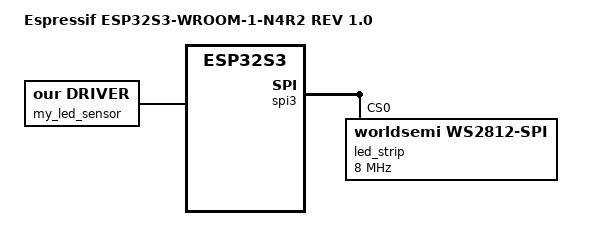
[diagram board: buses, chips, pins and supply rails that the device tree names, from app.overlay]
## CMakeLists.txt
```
cmake_minimum_required(VERSION 3.20.0)

find_package(Zephyr REQUIRED)

# Pull in the custom Kconfig (adds CONFIG_SENSOR_OUR_DRIVER)
set(KCONFIG_ROOT ${CMAKE_CURRENT_SOURCE_DIR}/Kconfig)

project(app-blink-s3-wroom-1-n8r2-devkitc-rev1.0)

target_sources(app PRIVATE src/main.cpp)

# Add driver source directly into Zephyr-OS drivers
zephyr_library_sources_ifdef(CONFIG_SENSOR_OUR_DRIVER src/our_driver.c)
```

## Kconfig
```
config SENSOR_OUR_DRIVER
    bool "Our LED sensor driver"
    depends on SENSOR
    depends on LED_STRIP
    help
      Enable the on-board LED sensor driver.

source "Kconfig.zephyr"
```

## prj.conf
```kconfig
# Needed to control the internal RGB LED of the Espressif ESP32s3-WROOM-1-N8R2 on GPIO38
CONFIG_SENSOR=y
CONFIG_LED_STRIP=y
CONFIG_SPI=y
CONFIG_SENSOR_OUR_DRIVER=y

# Enable serial driver and console
CONFIG_SERIAL=y
CONFIG_CONSOLE=y

# Route console output to UART
CONFIG_UART_CONSOLE=y

# (Optional but recommended) Explicitly enable printk
CONFIG_PRINTK=y
```

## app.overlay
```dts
#include <zephyr/dt-bindings/gpio/gpio.h>
#include <zephyr/dt-bindings/led/led.h>
#include <zephyr/dt-bindings/pinctrl/esp32s3-pinctrl.h>

/*** NOTES FOR FUTURE ME

at the time of this assignment I didn't have a led and resistor laying
around to create a simple blinking led, so I used the RGB led of the esp32s3
defioned at the overlay file from my previous assignment and wrapped it inside
the sample_fetch / channel_get callbacks of this our driver
*/

/ {
    model = "Espressif ESP32S3-WROOM-1-N4R2 REV 1.0";
    compatible = "espressif,esp32s3";

    aliases {
        led-strip     = &led_strip;
        my-led-sensor = &my_led_sensor;
    };

    my_led_sensor: my_led_sensor {
        compatible = "our,driver";
        led-strip = <&led_strip>;
        custom-api = "our_driver_api";
    };
};

&pinctrl {
    spim3_ws2812: spim3_ws2812 {
        group1 {
            /* GPIO48 on board rev v1.0, GPIO38 on v1.1 */
            pinmux = <ESP32_PINMUX(48, ESP_NOSIG, ESP_SPI3_D_OUT)>;
            output-low;
        };
    };
};

&spi3 {
    status = "okay";
    pinctrl-0 = <&spim3_ws2812>;
    pinctrl-names = "default";
    line-idle-low;

    led_strip: ws2812@0 {
        compatible = "worldsemi,ws2812-spi";
        reg = <0>;
        chain-length = <1>;
        color-mapping = <LED_COLOR_ID_GREEN LED_COLOR_ID_RED LED_COLOR_ID_BLUE>;
        spi-max-frequency = <8000000>;
        spi-one-frame     = <0xF8>;
        spi-zero-frame    = <0xC0>;
    };
};
```

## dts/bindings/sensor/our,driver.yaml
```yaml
description: WS2812 LED strip sensor wrapper
compatible: "our,driver"
include: base.yaml

properties:
  led-strip:
    type: phandle
    required: true
    description: LED strip device to control

  custom-api:
    type: string
    required: true
    description: Name of the custom API struct
```

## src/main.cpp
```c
#include <zephyr/kernel.h>
#include <zephyr/device.h>
#include <zephyr/drivers/sensor.h>

/* Use extern "C" because main.cpp is C++ */
extern "C" {
    typedef int (*our_driver_set_state_t)(const struct device *dev, bool state);
    struct our_driver_api {
        our_driver_set_state_t set_state;
    };
    const struct our_driver_api *our_driver_custom_api_get_0(void);
}

int main(void)
{
    printk(">>> [APP] main() started\n");
    
    const struct device *dev = DEVICE_DT_GET(DT_ALIAS(my_led_sensor));
    if (!device_is_ready(dev)) {
        printk(">>> [APP] ERROR: my_led_sensor not ready\n");
        return -1;
    }

    printk(">>> [APP] device is ready\n");

    const struct our_driver_api *custom_api = our_driver_custom_api_get_0();
    if (!custom_api) {
        printk(">>> [APP] ERROR: custom API is null\n");
        return -1;
    }
    
    printk(">>> [APP] custom API pointer: %p\n", custom_api);
    printk(">>> [APP] set_state pointer: %p\n", custom_api->set_state);

    while (1) {
        sensor_sample_fetch(dev);                         
        
        printk(">>> [APP] calling custom API for TRUE\n");
        custom_api->set_state(dev, true); 
        
        k_msleep(1000);

        struct sensor_value val;
        sensor_channel_get(dev, SENSOR_CHAN_ALL, &val);   
        
        printk(">>> [APP] calling custom API for FALSE\n");
        custom_api->set_state(dev, false);
        
        k_msleep(1000);
    }
    return 0;
}
```

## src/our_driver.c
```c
/*
Without it, every DT_INST_* macro uses an empty compat string, matches no nodes,
and DT_INST_FOREACH_STATUS_OKAY produces no instances
*/
#define DT_DRV_COMPAT our_driver

#include <zephyr/device.h>
#include <zephyr/drivers/led_strip.h>
#include <zephyr/drivers/sensor.h>
#include <zephyr/kernel.h>
#include <zephyr/sys/printk.h>

/* --- 1. STRUCTS --- */

/* Static configuration (from Devicetree) */
struct our_driver_config {
  const struct device *strip;
};

/* Dynamic data (for Task 2 state tracking) */
struct our_driver_data {
  bool state;
};

/* --- 2. CUSTOM API --- */

/* Define the custom API structure */
typedef int (*our_driver_set_state_t)(const struct device *dev, bool state);
struct our_driver_api {
  our_driver_set_state_t set_state;
};

/* Implement the custom function */
static int our_driver_set_state(const struct device *dev, bool state) {
  struct our_driver_data *data = dev->data;
  data->state = state;

  printk("our driver: RGB led %s\n", state ? "true" : "false");
  return 0;
}

/* --- 3. SENSOR API --- */

static int our_driver_sample_fetch(const struct device *dev,
                                   enum sensor_channel chan) {
  const struct our_driver_config *cfg = dev->config;
  struct our_driver_data *data = dev->data;
  struct led_rgb pixel = {.r = 0, .g = 255, .b = 0}; /* Green */

  if (chan != SENSOR_CHAN_ALL)
    return -ENOTSUP;

  data->state = true;
  return led_strip_update_rgb(cfg->strip, &pixel, 1);
}

static int our_driver_channel_get(const struct device *dev,
                                  enum sensor_channel chan,
                                  struct sensor_value *val) {
  const struct our_driver_config *cfg = dev->config;
  struct our_driver_data *data = dev->data;
  struct led_rgb pixel = {.r = 0, .g = 0, .b = 0}; /* Off */

  if (chan != SENSOR_CHAN_ALL)
    return -ENOTSUP;

  data->state = false;
  (void)led_strip_update_rgb(cfg->strip, &pixel, 1);
  val->val1 = 0;
  val->val2 = 0;
  return 0;
}

static const struct sensor_driver_api our_sensor_api = {
    .sample_fetch = our_driver_sample_fetch,
    .channel_get = our_driver_channel_get,
};

/* --- 4. INIT AND DEVICE DEFINE --- */

static int our_driver_init(const struct device *dev) {
  printk(">>> [DRIVER] init() started\n"); 

  const struct our_driver_config *cfg = dev->config;
  struct our_driver_data *data = dev->data;

  if (!device_is_ready(cfg->strip)) {
    printk(">>> [DRIVER] ERROR: LED strip not ready\n");
    return -ENODEV;
  }

  printk(">>> [DRIVER] init() complete\n");
  data->state = false;
  return 0;
}

#define OUR_DRIVER_INIT(inst)                                                  \
  static const struct our_driver_config our_driver_config_##inst = {           \
      .strip = DEVICE_DT_GET(DT_INST_PHANDLE(inst, led_strip)),                \
  };                                                                           \
  static struct our_driver_data our_driver_data_##inst;                        \
  static const struct our_driver_api our_driver_custom_api_##inst = {          \
      .set_state = our_driver_set_state,                                       \
  };                                                                           \
  DEVICE_DT_INST_DEFINE(inst, our_driver_init, NULL, &our_driver_data_##inst,  \
                        &our_driver_config_##inst, POST_KERNEL,                \
                        CONFIG_SENSOR_INIT_PRIORITY, &our_sensor_api);         \
  /* Expose the custom API so main.c can find it */                            \
  const struct our_driver_api *our_driver_custom_api_get_##inst(void) {        \
    return &our_driver_custom_api_##inst;                                      \
  }

DT_INST_FOREACH_STATUS_OKAY(OUR_DRIVER_INIT)
```
